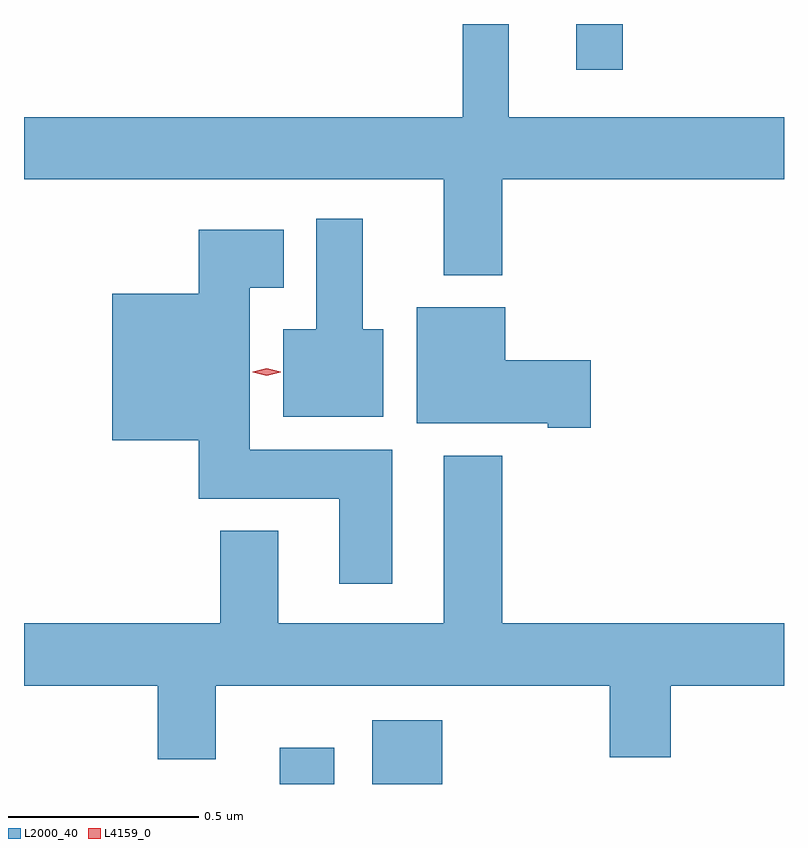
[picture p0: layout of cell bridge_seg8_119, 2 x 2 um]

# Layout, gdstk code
import gdstk
lib = gdstk.Library(unit=1e-6, precision=1e-09)
def R(c, l, rs):  # rectangles x0, y0, x1, y1
    for r in rs: c.add(gdstk.rectangle(r[:2], r[2:], *l))
def P(c, l, *ps):  # polygons
    for p in ps: c.add(gdstk.Polygon(p, *l))
L2000_40 = (2000, 40)
L4159_0 = (4159, 0)

bridge_seg8_119 = lib.new_cell('bridge_seg8_119')
R(bridge_seg8_119, L2000_40, [(846.215,1161.529,846.358,1161.625), (846.458,1161.529,846.643,1161.697), (846.995,1163.409,847.117,1163.529)])
P(bridge_seg8_119, L2000_40, [(846.8,1163.12),(847.542,1163.12),(847.542,1163.284),(846.817,1163.284),(846.817,1163.529),(846.696,1163.529),(846.696,1163.284),(845.542,1163.284),(845.542,1163.12),(846.647,1163.12),(846.647,1162.868),(846.8,1162.868)],
  [(846.487,1162.726),(846.433,1162.726),(846.433,1163.017),(846.311,1163.017),(846.311,1162.726),(846.224,1162.726),(846.224,1162.496),(846.487,1162.496)],
  [(846.511,1162.408),(846.136,1162.408),(846.136,1162.835),(846.226,1162.835),(846.226,1162.987),(846.002,1162.987),(846.002,1162.819),(845.774,1162.819),(845.774,1162.433),(846.002,1162.433),(846.002,1162.28),(846.371,1162.28),(846.371,1162.056),(846.511,1162.056)],
  [(847.033,1162.644),(846.808,1162.644),(846.808,1162.783),(846.575,1162.783),(846.575,1162.478),(846.92,1162.478),(846.92,1162.466),(847.033,1162.466)],
  [(846.647,1162.393),(846.647,1161.952),(846.211,1161.952),(846.211,1162.195),(846.059,1162.195),(846.059,1161.952),(845.542,1161.952),(845.542,1161.788),(845.894,1161.788),(845.894,1161.594),(846.046,1161.594),(846.046,1161.788),(847.084,1161.788),(847.084,1161.599),(847.244,1161.599),(847.244,1161.788),(847.542,1161.788),(847.542,1161.952),(846.8,1161.952),(846.8,1162.393)])
P(bridge_seg8_119, L4159_0, [(846.181,1162.603),(846.144,1162.613),(846.144,1162.613),(846.144,1162.614),(846.181,1162.623),(846.218,1162.614),(846.218,1162.613),(846.218,1162.613)])

lib.write_gds('bridge_seg8_119.gds')
